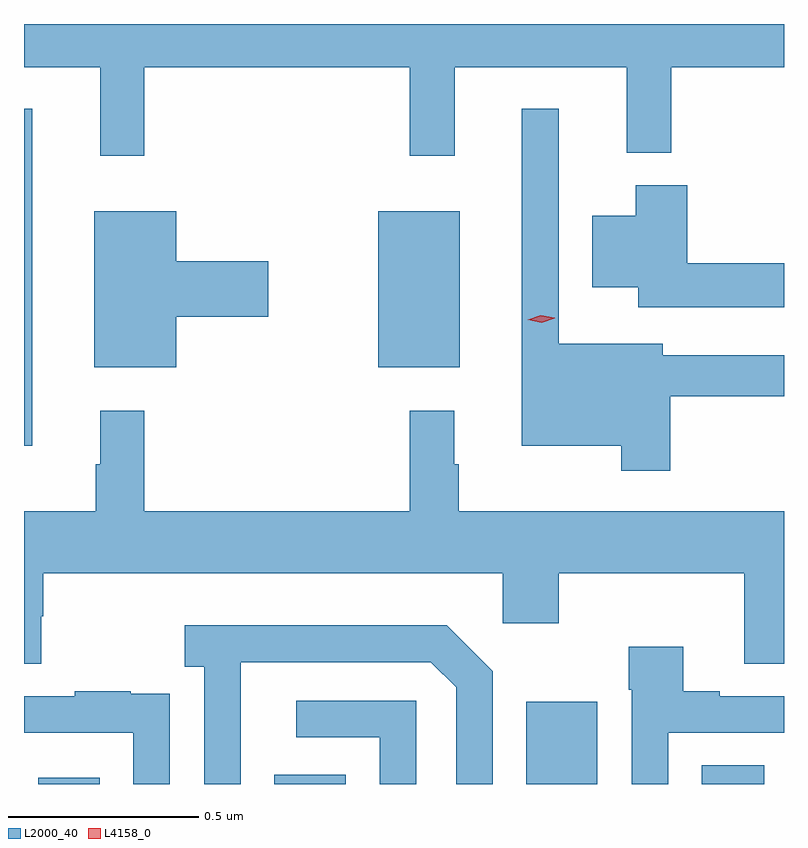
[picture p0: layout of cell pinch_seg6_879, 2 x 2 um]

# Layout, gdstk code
import gdstk
lib = gdstk.Library(unit=1e-6, precision=1e-09)
def R(c, l, rs):  # rectangles x0, y0, x1, y1
    for r in rs: c.add(gdstk.rectangle(r[:2], r[2:], *l))
def P(c, l, *ps):  # polygons
    for p in ps: c.add(gdstk.Polygon(p, *l))
L2000_40 = (2000, 40)
L4158_0 = (4158, 0)

pinch_seg6_879 = lib.new_cell('pinch_seg6_879')
R(pinch_seg6_879, L2000_40, [(120.95,977.418,121.111,977.434), (121.571,977.418,121.759,977.443), (122.234,977.418,122.421,977.635), (122.696,977.418,122.86,977.468), (120.912,978.308,120.934,979.195), (121.844,978.515,122.059,978.925)])
P(pinch_seg6_879, L2000_40, [(121.229,979.304),(121.927,979.304),(121.927,979.071),(122.045,979.071),(122.045,979.304),(122.498,979.304),(122.498,979.079),(122.615,979.079),(122.615,979.304),(122.912,979.304),(122.912,979.418),(120.912,979.418),(120.912,979.304),(121.112,979.304),(121.112,979.071),(121.229,979.071)],
  [(122.612,978.438),(122.912,978.438),(122.912,978.546),(122.593,978.546),(122.593,978.577),(122.319,978.577),(122.319,979.195),(122.222,979.195),(122.222,978.308),(122.484,978.308),(122.484,978.243),(122.612,978.243)],
  [(122.912,978.788),(122.657,978.788),(122.657,978.994),(122.522,978.994),(122.522,978.913),(122.408,978.913),(122.408,978.725),(122.528,978.725),(122.528,978.672),(122.912,978.672)],
  [(121.312,978.647),(121.555,978.647),(121.555,978.794),(121.312,978.794),(121.312,978.925),(121.097,978.925),(121.097,978.515),(121.312,978.515)],
  [(120.957,977.859),(120.962,977.859),(120.962,977.972),(122.172,977.972),(122.172,977.841),(122.319,977.841),(122.319,977.972),(122.807,977.972),(122.807,977.734),(122.912,977.734),(122.912,978.136),(122.056,978.136),(122.056,978.26),(122.044,978.26),(122.044,978.4),(121.927,978.4),(121.927,978.136),(121.229,978.136),(121.229,978.4),(121.112,978.4),(121.112,978.26),(121.101,978.26),(121.101,978.136),(120.912,978.136),(120.912,977.734),(120.957,977.734)],
  [(121.482,977.539),(121.483,977.539),(121.483,977.739),(121.983,977.739),(122.049,977.673),(122.049,977.418),(122.145,977.418),(122.145,977.715),(122.024,977.836),(121.335,977.836),(121.335,977.726),(121.386,977.726),(121.386,977.418),(121.482,977.418)],
  [(122.607,977.553),(122.912,977.553),(122.912,977.649),(122.743,977.649),(122.743,977.662),(122.647,977.662),(122.647,977.779),(122.503,977.779),(122.503,977.666),(122.511,977.666),(122.511,977.418),(122.607,977.418)],
  [(121.296,977.546),(121.295,977.546),(121.295,977.655),(121.193,977.655),(121.193,977.662),(121.045,977.662),(121.045,977.649),(120.912,977.649),(120.912,977.553),(121.2,977.553),(121.2,977.418),(121.296,977.418)],
  [(121.944,977.637),(121.629,977.637),(121.629,977.541),(121.848,977.541),(121.848,977.418),(121.944,977.418)])
P(pinch_seg6_879, L4158_0, [(122.274,978.632),(122.238,978.64),(122.237,978.64),(122.238,978.64),(122.272,978.652),(122.309,978.645),(122.309,978.644),(122.309,978.644)])

lib.write_gds('pinch_seg6_879.gds')
